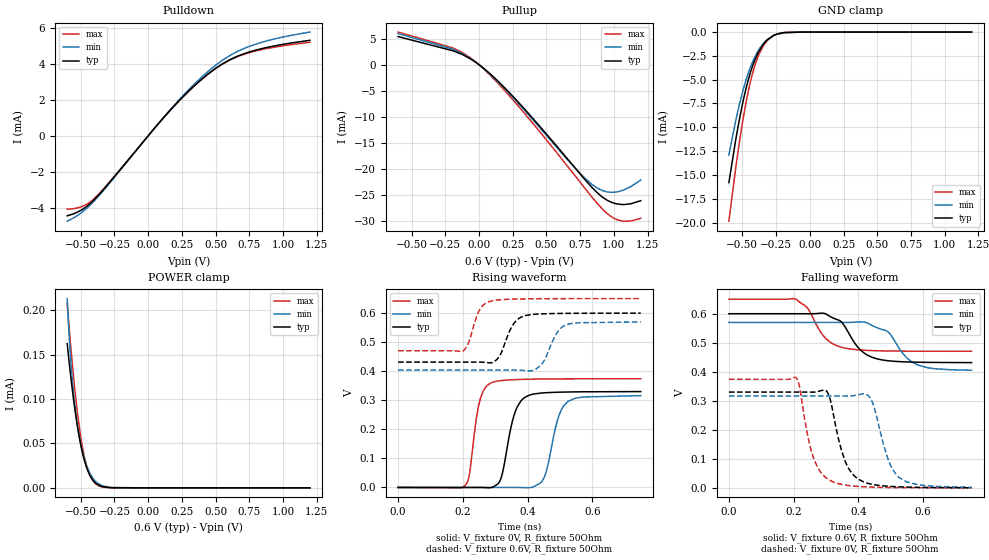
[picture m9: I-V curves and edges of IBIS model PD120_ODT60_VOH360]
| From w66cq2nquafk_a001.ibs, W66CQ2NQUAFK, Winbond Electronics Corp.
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[Model]   PD120_ODT60_VOH360
Model_type   I/O
Polarity   Non-Inverting
Enable   Active-Low
Vinl = 0.11
Vinh = 0.25
Vmeas = 0.18
Vref = 0
Cref = 0pF
Rref = 60
|   typ   min   max
C_comp   0.85pF   0.80pF   0.90pF
[Voltage Range]   0.6   0.57   0.65
[Temperature Range]   25   105   -40
[Pullup Reference]   0.6   0.57   0.65
[Pulldown Reference]   0   0   0
[Power Clamp Reference]   0.6   0.57   0.65
[GND Clamp Reference]   0   0   0
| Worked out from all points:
|   slope of the pulldown table from 0 to 0.09 V, typ, clamps not added: 112 ohm
|   slope of the pullup table from 0 to 0.09 V, typ, clamps not added: 46.4 ohm
|   GND clamp passes 1 mA (typ) near -0.33 V on its own axis
|   falling waveform, V_fixture 0.6V, R_fixture 50Ohm: 20-80 % time 65.2ps typ, 68.3ps min, 61.4ps max; typ from 0.6 V to 0.432 V
|   rising waveform, V_fixture 0V, R_fixture 50Ohm: 20-80 % time 37.4ps typ, 39.3ps min, 28.4ps max; typ from 0 V to 0.33 V
|   rising waveform, V_fixture 0.6V, R_fixture 50Ohm: 20-80 % time 39.6ps typ, 42.2ps min, 33.1ps max; typ from 0.431 V to 0.6 V
|   falling waveform, V_fixture 0V, R_fixture 50Ohm: 20-80 % time 49.4ps typ, 50.7ps min, 47ps max; typ from 0.33 V to 0 V
[Pulldown]
|   Voltage   I(typ)   I(min)   I(max)
-600mV    -4.454mA   -4.756mA   -4.083mA
-498.6mV  -4.149mA   -4.302mA   -3.96mA
-455.7mV  -3.932mA   -4.038mA   -3.811mA
-403.2mV  -3.58mA    -3.652mA   -3.514mA
-300.6mV  -2.72mA    -2.768mA   -2.692mA
165mV     1.439mA    1.472mA    1.436mA
347.3mV   2.827mA    2.921mA    2.816mA
503mV     3.777mA    3.948mA    3.761mA
626.6mV   4.32mA     4.565mA    4.299mA
761.7mV   4.702mA    5.02mA     4.662mA
937.3mV   5.015mA    5.403mA    4.946mA
1.2V      5.325mA    5.787mA    5.215mA
[GND Clamp]
|   Voltage   I(typ)   I(min)   I(max)
-600mV    -15.82mA   -12.92mA   -19.87mA
-545.4mV  -10.99mA   -9.06mA    -13.87mA
-498mV    -7.485mA   -6.278mA   -9.397mA
-473.9mV  -5.995mA   -5.085mA   -7.468mA
-433.6mV  -3.961mA   -3.454mA   -4.825mA
-388.1mV  -2.325mA   -2.104mA   -2.725mA
-343.9mV  -1.284mA   -1.189mA   -1.434mA
-314.6mV  -817.7uA   -777.8uA   -883.4uA
-267mV    -333.6uA   -369.7uA   -350.7uA
-196.3mV  -71.09uA   -92.36uA   -56.39uA
-59.4mV   -1.421uA   -4.115uA   -403.3nA
1.2V      0A         0A         0A
[Pullup]
|   Voltage   I(typ)   I(min)   I(max)
-600mV    5.379mA    5.957mA    6.249mA
-196.3mV  2.676mA    2.967mA    3.222mA
-120.6mV  1.917mA    2.067mA    2.273mA
-2mV      37.06uA    40.24uA    45.12uA
123mV     -2.729mA   -2.833mA   -3.089mA
295mV     -7.303mA   -7.524mA   -8.048mA
761.7mV   -21.33mA   -21.19mA   -22.93mA
872.3mV   -24.46mA   -23.61mA   -26.48mA
944.1mV   -25.92mA   -24.4mA    -28.42mA
1.028V    -26.76mA   -24.4mA    -29.79mA
1.123V    -26.72mA   -23.45mA   -30.01mA
1.2V      -26.11mA   -22.16mA   -29.49mA
[POWER Clamp]
|   Voltage   I(typ)   I(min)   I(max)
-600mV    162.4uA    213.1uA    207.7uA
-585.2mV  140.9uA    169.8uA    179.6uA
-571.4mV  122.2uA    138.5uA    155uA
-549.8mV  95.94uA    101.7uA    120.2uA
-524.2mV  69.16uA    70.66uA    84.39uA
-498.6mV  47.59uA    48.94uA    55.85uA
-474.6mV  32.02uA    33.59uA    35.75uA
-455.7mV  22.7uA     24.78uA    24.16uA
-410.2mV  8.776uA    11.04uA    8.116uA
-375.4mV  3.893uA    5.326uA    3.161uA
-265.9mV  110.6nA    413.1nA    16.83nA
1.2V      0A         0A         0A
[Ramp]
R_load = 50
|   typ   min   max
dV/dt_r 1.9798E-01/3.7404E-11   1.8959E-01/3.9264E-11   2.2434E-01/2.8443E-11
dV/dt_f 1.0107E-01/6.4761E-11   9.8860E-02/6.8288E-11   1.0760E-01/6.1259E-11
[Falling Waveform]
V_fixture = 0.6V
V_fixture_min = 0.57V
V_fixture_max = 0.65V
R_fixture = 50Ohm
C_fixture = 0F
|   Time   V(typ)   V(min)   V(max)
0s        600mV      570mV      650mV
206ps     600mV      570mV      650.8mV
243ps     600mV      570mV      619.6mV
296ps     600.9mV    570mV      519mV
347ps     572.7mV    569.9mV    484.7mV
418ps     464.4mV    571.3mV    474.2mV
491ps     438mV      538mV      471.7mV
540ps     434.3mV    459.6mV    471.1mV
584ps     432.9mV    423.4mV    470.9mV
750ps     431.6mV    405.2mV    470.7mV
[Rising Waveform]
V_fixture = 0V
V_fixture_min = 0V
V_fixture_max = 0V
R_fixture = 50Ohm
C_fixture = 0F
|   Time   V(typ)   V(min)   V(max)
0s        7.087uV    32.11uV    1.39uV
209ps     6.388uV    32.12uV    9.122mV
254ps     16.12uV    32.19uV    304.5mV
291ps     592.8uV    31.24uV    361.6mV
317ps     27.87mV    34.95uV    367.6mV
358ps     246.8mV    68.75uV    370.9mV
389ps     307.9mV    -654.4uV   372.1mV
451ps     325.7mV    33.15mV    373.3mV
525ps     328.5mV    296.3mV    373.7mV
750ps     330mV      316mV      373.9mV
[Rising Waveform]
V_fixture = 0.6V
V_fixture_min = 0.57V
V_fixture_max = 0.65V
R_fixture = 50Ohm
C_fixture = 0F
|   Time   V(typ)   V(min)   V(max)
0s        431.4mV    403.9mV    470.7mV
200ps     431.4mV    403.9mV    469.1mV
254ps     431.5mV    403.9mV    614.8mV
291ps     429.6mV    403.9mV    642.6mV
317ps     458.7mV    403.9mV    646.3mV
358ps     564.6mV    404.1mV    648.4mV
388ps     589.7mV    402.7mV    649mV
439ps     597.2mV    418.5mV    649.6mV
518ps     599.1mV    559.1mV    649.9mV
750ps     600mV      569.7mV    650mV
[Falling Waveform]
|Gnd
V_fixture = 0V
V_fixture_min = 0V
V_fixture_max = 0V
R_fixture = 50Ohm
C_fixture = 0F
|   Time   V(typ)   V(min)   V(max)
0s        330mV      316.7mV    373.9mV
208ps     330mV      316.7mV    379.4mV
263ps     329.8mV    316.7mV    98.18mV
300ps     335.4mV    316.7mV    34.75mV
320ps     270.2mV    316.7mV    21.44mV
358ps     95.32mV    316.5mV    9.973mV
412ps     22.71mV    323.8mV    3.979mV
444ps     11.7mV     293.2mV    2.396mV
525ps     3.467mV    36.42mV    682uV
750ps     204.2uV    1.595mV    -12.8uV
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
